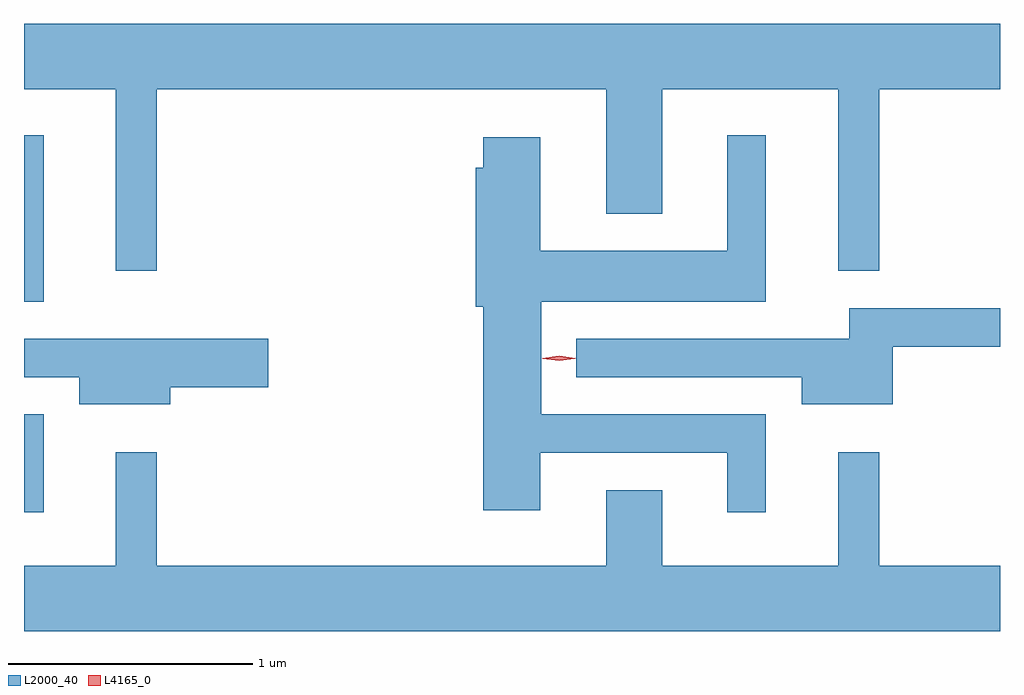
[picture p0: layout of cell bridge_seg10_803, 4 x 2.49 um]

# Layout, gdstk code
import gdstk
lib = gdstk.Library(unit=1e-6, precision=1e-09)
def R(c, l, rs):  # rectangles x0, y0, x1, y1
    for r in rs: c.add(gdstk.rectangle(r[:2], r[2:], *l))
def P(c, l, *ps):  # polygons
    for p in ps: c.add(gdstk.Polygon(p, *l))
L2000_40 = (2000, 40)
L4165_0 = (4165, 0)

bridge_seg10_803 = lib.new_cell('bridge_seg10_803')
R(bridge_seg10_803, L2000_40, [(204.904,2205.423,204.984,2205.824), (204.904,2206.286,204.984,2206.968)])
P(bridge_seg10_803, L2000_40, [(205.449,2207.156),(207.291,2207.156),(207.291,2206.646),(207.519,2206.646),(207.519,2207.156),(208.241,2207.156),(208.241,2206.413),(208.409,2206.413),(208.409,2207.156),(208.904,2207.156),(208.904,2207.424),(204.904,2207.424),(204.904,2207.156),(205.281,2207.156),(205.281,2206.413),(205.449,2206.413)],
  [(207.944,2205.824),(207.024,2205.824),(207.024,2206.286),(207.944,2206.286),(207.944,2206.968),(207.786,2206.968),(207.786,2206.494),(207.019,2206.494),(207.019,2206.959),(206.786,2206.959),(206.786,2206.834),(206.756,2206.834),(206.756,2206.266),(206.786,2206.266),(206.786,2205.431),(207.019,2205.431),(207.019,2205.666),(207.786,2205.666),(207.786,2205.423),(207.944,2205.423)],
  [(208.464,2206.101),(208.904,2206.101),(208.904,2206.259),(208.286,2206.259),(208.286,2206.134),(207.168,2206.134),(207.168,2205.976),(208.091,2205.976),(208.091,2205.866),(208.464,2205.866)],
  [(205.504,2205.936),(205.904,2205.936),(205.904,2206.134),(204.904,2206.134),(204.904,2205.976),(205.131,2205.976),(205.131,2205.866),(205.504,2205.866)],
  [(208.904,2205.204),(208.409,2205.204),(208.409,2205.668),(208.241,2205.668),(208.241,2205.204),(207.519,2205.204),(207.519,2205.514),(207.291,2205.514),(207.291,2205.204),(205.449,2205.204),(205.449,2205.668),(205.281,2205.668),(205.281,2205.204),(204.904,2205.204),(204.904,2204.936),(208.904,2204.936)])
P(bridge_seg10_803, L4165_0, [(207.097,2206.044),(207.028,2206.054),(207.027,2206.054),(207.028,2206.055),(207.097,2206.064),(207.166,2206.055),(207.166,2206.054),(207.166,2206.054)],
  [(207.097,2206.043),(207.031,2206.052),(207.03,2206.053),(207.031,2206.053),(207.097,2206.063),(207.162,2206.053),(207.163,2206.053),(207.162,2206.052)])

lib.write_gds('bridge_seg10_803.gds')
